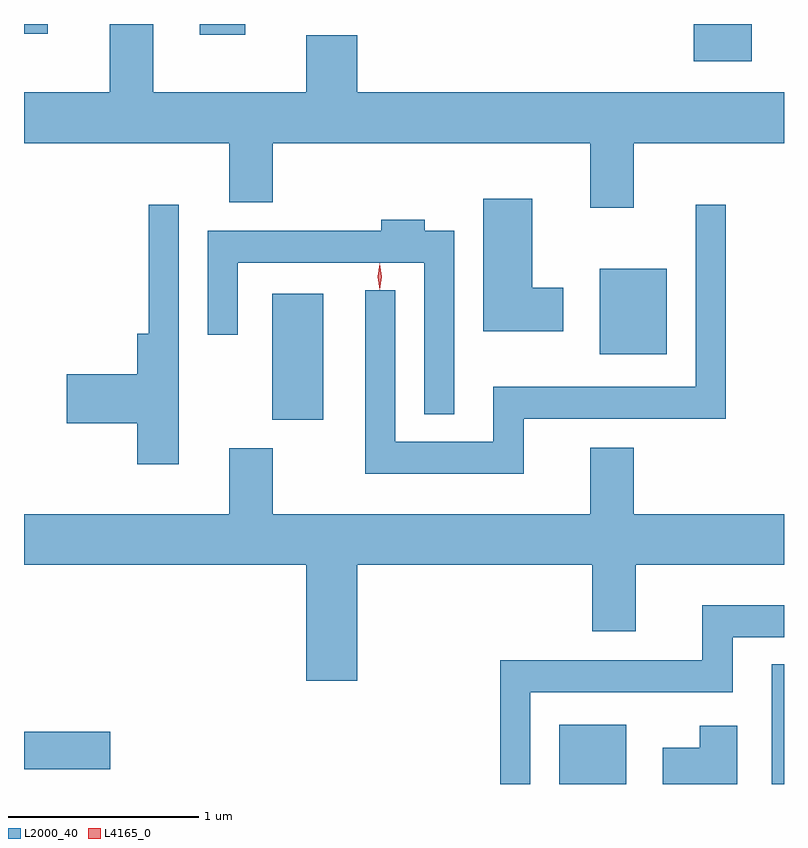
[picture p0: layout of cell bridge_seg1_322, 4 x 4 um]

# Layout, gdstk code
import gdstk
lib = gdstk.Library(unit=1e-6, precision=1e-09)
def R(c, l, rs):  # rectangles x0, y0, x1, y1
    for r in rs: c.add(gdstk.rectangle(r[:2], r[2:], *l))
def P(c, l, *ps):  # polygons
    for p in ps: c.add(gdstk.Polygon(p, *l))
L2000_40 = (2000, 40)
L4165_0 = (4165, 0)

bridge_seg1_322 = lib.new_cell('bridge_seg1_322')
R(bridge_seg1_322, L2000_40, [(935.686,882.883,936.039,883.194), (936.806,882.883,936.87,883.513), (932.87,882.961,933.324,883.159), (934.176,884.801,934.444,885.464), (935.901,885.146,936.254,885.594), (936.396,886.686,936.699,886.883), (933.796,886.826,934.034,886.883), (932.87,886.833,932.994,886.883)])
P(bridge_seg1_322, L2000_40, [(936.079,886.256),(936.87,886.256),(936.87,886.524),(934.624,886.524),(934.624,886.824),(934.356,886.824),(934.356,886.524),(933.549,886.524),(933.549,886.883),(933.321,886.883),(933.321,886.524),(932.87,886.524),(932.87,886.256),(933.951,886.256),(933.951,885.946),(934.179,885.946),(934.179,886.256),(935.851,886.256),(935.851,885.916),(936.079,885.916)],
  [(935.709,885.494),(935.544,885.494),(935.544,885.964),(935.286,885.964),(935.286,885.266),(935.709,885.266)],
  [(933.684,885.933),(933.526,885.933),(933.526,885.254),(933.466,885.254),(933.466,885.039),(933.096,885.039),(933.096,884.781),(933.466,884.781),(933.466,884.566),(933.684,884.566)],
  [(935.499,884.806),(936.564,884.806),(936.564,885.933),(936.406,885.933),(936.406,884.974),(935.341,884.974),(935.341,884.684),(934.824,884.684),(934.824,885.483),(934.666,885.483),(934.666,884.516),(935.499,884.516)],
  [(935.134,885.794),(934.979,885.794),(934.979,885.854),(934.751,885.854),(934.751,885.794),(933.836,885.794),(933.836,885.248),(933.994,885.248),(933.994,885.626),(934.976,885.626),(934.976,884.828),(935.134,884.828)],
  [(934.624,884.036),(935.861,884.036),(935.861,883.686),(936.089,883.686),(936.089,884.036),(936.87,884.036),(936.87,884.304),(936.079,884.304),(936.079,884.654),(935.851,884.654),(935.851,884.304),(934.179,884.304),(934.179,884.649),(933.951,884.649),(933.951,884.304),(932.87,884.304),(932.87,884.036),(934.356,884.036),(934.356,883.426),(934.624,883.426)],
  [(935.534,883.366),(936.599,883.366),(936.599,883.656),(936.87,883.656),(936.87,883.824),(936.441,883.824),(936.441,883.534),(935.376,883.534),(935.376,882.883),(935.534,882.883)],
  [(936.624,883.189),(936.426,883.189),(936.426,883.074),(936.231,883.074),(936.231,882.883),(936.624,882.883)])
P(bridge_seg1_322, L4165_0, [(934.742,885.487),(934.733,885.554),(934.742,885.62),(934.743,885.62),(934.743,885.62),(934.753,885.554),(934.743,885.487),(934.743,885.487)],
  [(934.742,885.484),(934.733,885.553),(934.742,885.622),(934.743,885.623),(934.743,885.622),(934.753,885.553),(934.743,885.484),(934.743,885.484)])

lib.write_gds('bridge_seg1_322.gds')
